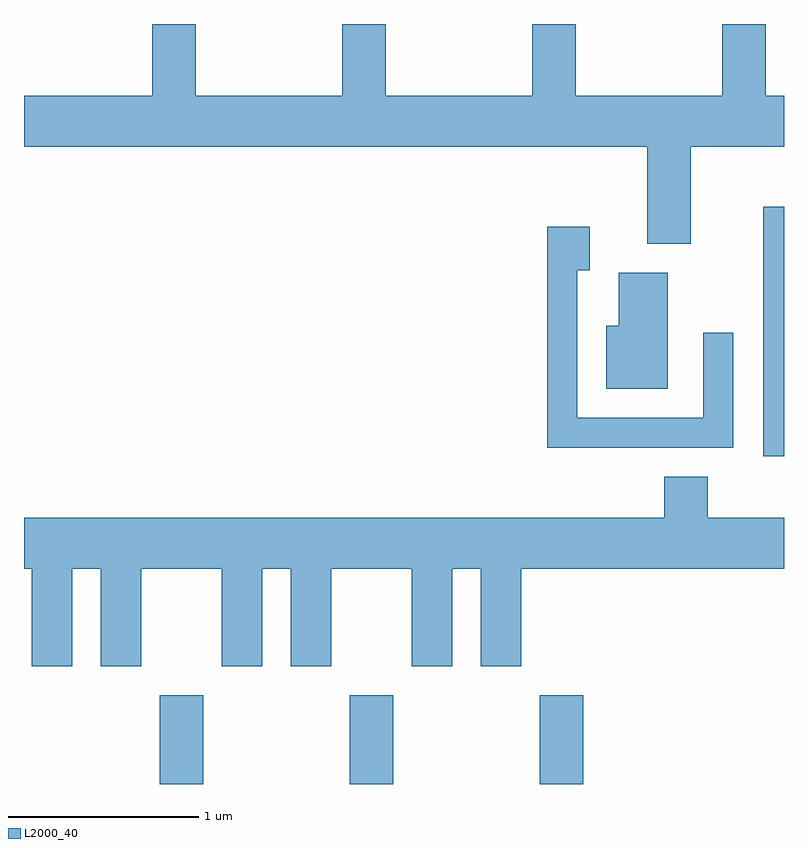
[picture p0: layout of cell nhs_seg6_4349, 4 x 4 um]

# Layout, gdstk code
import gdstk
lib = gdstk.Library(unit=1e-6, precision=1e-09)
def R(c, l, rs):  # rectangles x0, y0, x1, y1
    for r in rs: c.add(gdstk.rectangle(r[:2], r[2:], *l))
def A(c, l, x, y, w, h, nx, ny, dx, dy):  # array of equal rectangles
    R(c, l, [(x+i*dx, y+j*dy, x+i*dx+w, y+j*dy+h) for i in range(nx) for j in range(ny)])
def P(c, l, *ps):  # polygons
    for p in ps: c.add(gdstk.Polygon(p, *l))
L2000_40 = (2000, 40)

nhs_seg6_4349 = lib.new_cell('nhs_seg6_4349')
A(nhs_seg6_4349, L2000_40, 318.326, 1622.162, 0.228, 0.467, 3, 1, 1, 0)
R(nhs_seg6_4349, L2000_40, [(321.501,1623.886,321.611,1625.199)])
P(nhs_seg6_4349, L2000_40, [(321.119,1625.516),(321.611,1625.516),(321.611,1625.784),(321.514,1625.784),(321.514,1626.162),(321.286,1626.162),(321.286,1625.784),(320.514,1625.784),(320.514,1626.162),(320.286,1626.162),(320.286,1625.784),(319.514,1625.784),(319.514,1626.162),(319.286,1626.162),(319.286,1625.784),(318.514,1625.784),(318.514,1626.162),(318.286,1626.162),(318.286,1625.784),(317.611,1625.784),(317.611,1625.516),(320.891,1625.516),(320.891,1625.006),(321.119,1625.006)],
  [(321.344,1624.538),(321.186,1624.538),(321.186,1624.089),(320.524,1624.089),(320.524,1624.866),(320.589,1624.866),(320.589,1625.094),(320.366,1625.094),(320.366,1623.931),(321.344,1623.931)],
  [(320.999,1624.854),(320.741,1624.854),(320.741,1624.574),(320.676,1624.574),(320.676,1624.241),(320.999,1624.241)],
  [(317.611,1623.296),(317.651,1623.296),(317.651,1622.781),(317.864,1622.781),(317.864,1623.296),(318.016,1623.296),(318.016,1622.781),(318.229,1622.781),(318.229,1623.296),(318.651,1623.296),(318.651,1622.781),(318.864,1622.781),(318.864,1623.296),(319.016,1623.296),(319.016,1622.781),(319.229,1622.781),(319.229,1623.296),(319.651,1623.296),(319.651,1622.781),(319.864,1622.781),(319.864,1623.296),(320.016,1623.296),(320.016,1622.781),(320.229,1622.781),(320.229,1623.296),(321.611,1623.296),(321.611,1623.564),(321.209,1623.564),(321.209,1623.779),(320.981,1623.779),(320.981,1623.564),(317.611,1623.564)])

lib.write_gds('nhs_seg6_4349.gds')
